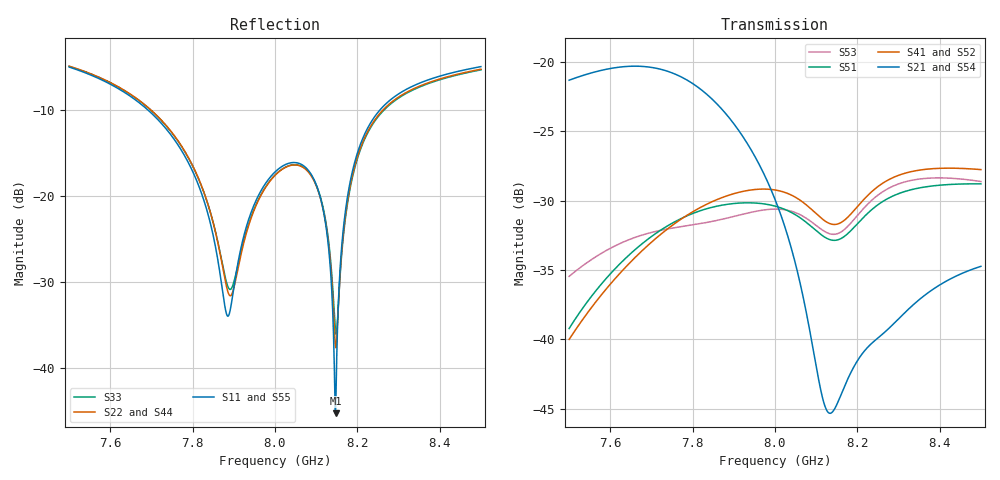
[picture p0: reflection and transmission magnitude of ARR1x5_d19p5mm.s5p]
! Touchstone file exported from HFSS 2025.1.0
!  File:  C:/Users/user/Documents/Ansoft/TFG_UWB-MIMO-Array.aedt
!  Generated:  09:03:16 PM Nov 21, 2026
!  Design:  ARR1x5_US3_PS4_2_1_dparam
!  Project:  TFG_UWB-MIMO-Array
!  Setup:  Setup_ch9
!  Solution:  Sweep_7p5_8p5
! Variables:
!  arr_d = 19.5mm
!  board_m = 13mm
!  board_x = 104mm
!  board_y = 26mm
!  cu_t = 0.035mm
!  line_w = 3.92mm
!  pad_xy = 22mm
!  pad_zn = 25mm
!  pad_zp = 33mm
!  par_L = 7.46mm
!  par_W = 10mm
!  par_yc = 0.75mm
!  par_z = 1.035mm
!  patch_L = 6.222mm
!  patch_W = 11.421266mm
!  sub_h = 2.07mm
!  tr_l = 6.6mm
!  tr_w = 0.8mm
!  u_Lu = 2.65mm
!  u_Wu = 4.4mm
!  u_t = 0.8mm
!  u_y0 = -0.7mm
# GHz S MA R 50.000000
! Terminal data exported
! Port[1] = P1
! Port[2] = P2
! Port[3] = P3
! Port[4] = P4
! Port[5] = P5
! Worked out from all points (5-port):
!   1001 points, 7.5 GHz to 8.5 GHz, reference 50 ohm
!   strongest paths, dB at 7.5 GHz, 7.75 GHz, 8 GHz, 8.25 GHz, 8.5 GHz:
!     S21: -21.3, -20.8, -29.9, -39.9, -34.7
!     S54: -21.3, -20.8, -29.9, -39.9, -34.7
!     S41: -40.0, -31.8, -29.2, -29.0, -27.8
!     S52: -40.0, -31.8, -29.3, -29.0, -27.8
!     S51: -39.2, -31.6, -30.4, -30.3, -28.8
!     S53: -35.5, -32.0, -30.6, -29.6, -28.6
!   lowest |S11| = -45.2 dB at 8.147 GHz (marker M1), VSWR 1.01, Z = 50.4 + j0.322 ohm
!   |S11| at or under -10 dB: 7.692 GHz to 8.254 GHz (561.8 MHz wide, 7.05 % of centre)
